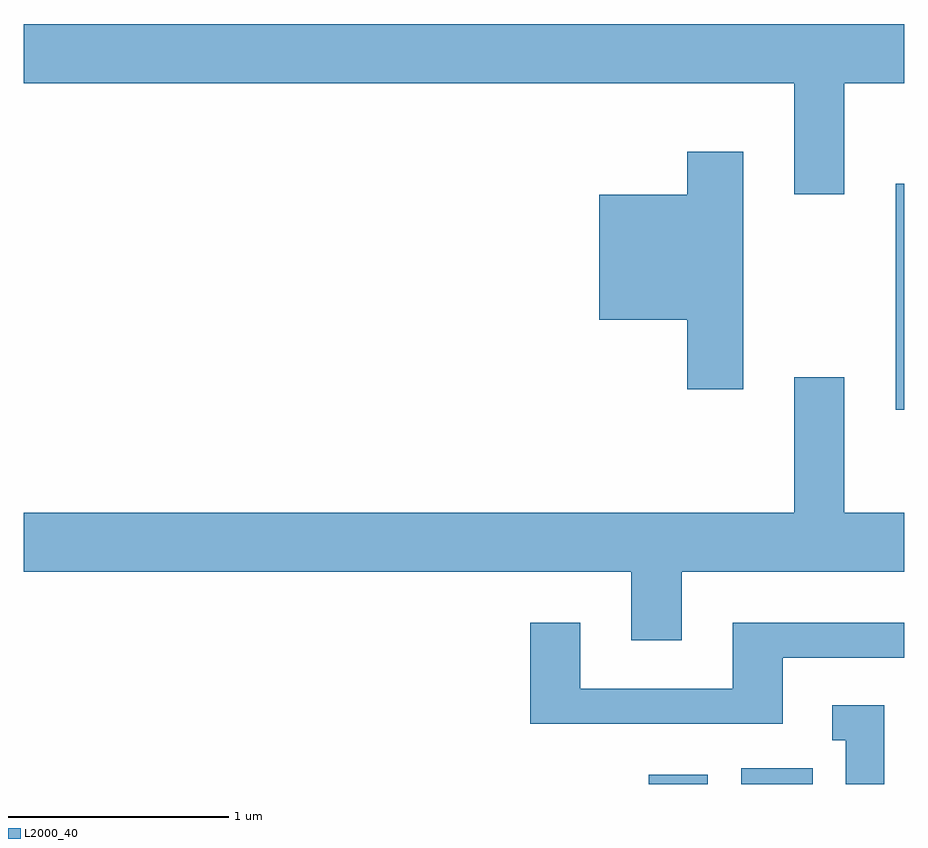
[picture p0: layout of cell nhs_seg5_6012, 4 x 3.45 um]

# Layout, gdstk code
import gdstk
lib = gdstk.Library(unit=1e-6, precision=1e-09)
def R(c, l, rs):  # rectangles x0, y0, x1, y1
    for r in rs: c.add(gdstk.rectangle(r[:2], r[2:], *l))
def P(c, l, *ps):  # polygons
    for p in ps: c.add(gdstk.Polygon(p, *l))
L2000_40 = (2000, 40)

nhs_seg5_6012 = lib.new_cell('nhs_seg5_6012')
R(nhs_seg5_6012, L2000_40, [(366.451,1438.072,366.719,1438.114), (366.871,1438.072,367.194,1438.144), (367.571,1439.771,367.611,1440.799)])
P(nhs_seg5_6012, L2000_40, [(367.339,1441.256),(367.611,1441.256),(367.611,1441.524),(363.611,1441.524),(363.611,1441.256),(367.111,1441.256),(367.111,1440.751),(367.339,1440.751)],
  [(366.879,1440.944),(366.626,1440.944),(366.626,1440.749),(366.226,1440.749),(366.226,1440.181),(366.626,1440.181),(366.626,1439.866),(366.879,1439.866)],
  [(366.599,1439.036),(367.611,1439.036),(367.611,1439.304),(367.339,1439.304),(367.339,1439.919),(367.111,1439.919),(367.111,1439.304),(363.611,1439.304),(363.611,1439.036),(366.371,1439.036),(366.371,1438.726),(366.599,1438.726)],
  [(367.059,1438.646),(367.611,1438.646),(367.611,1438.804),(366.831,1438.804),(366.831,1438.504),(366.139,1438.504),(366.139,1438.804),(365.911,1438.804),(365.911,1438.346),(367.059,1438.346)],
  [(367.519,1438.429),(367.283,1438.429),(367.283,1438.271),(367.346,1438.271),(367.346,1438.072),(367.519,1438.072)])

lib.write_gds('nhs_seg5_6012.gds')
